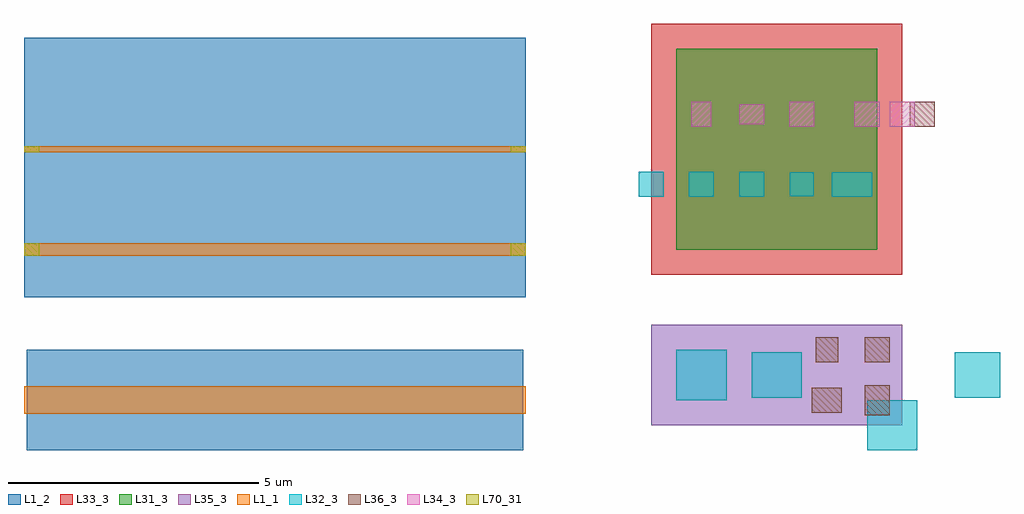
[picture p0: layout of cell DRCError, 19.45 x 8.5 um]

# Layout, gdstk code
import gdstk
lib = gdstk.Library(unit=1e-6, precision=1e-09)
def R(c, l, rs):  # rectangles x0, y0, x1, y1
    for r in rs: c.add(gdstk.rectangle(r[:2], r[2:], *l))
def A(c, l, x, y, w, h, nx, ny, dx, dy):  # array of equal rectangles
    R(c, l, [(x+i*dx, y+j*dy, x+i*dx+w, y+j*dy+h) for i in range(nx) for j in range(ny)])
def P(c, l, *ps):  # polygons
    for p in ps: c.add(gdstk.Polygon(p, *l))
L1_1 = (1, 1)
L1_2 = (1, 2)
L31_3 = (31, 3)
L32_3 = (32, 3)
L33_3 = (33, 3)
L34_3 = (34, 3)
L35_3 = (35, 3)
L36_3 = (36, 3)
L70_31 = (70, 31)

c_wg = lib.new_cell('wg')
R(c_wg, L1_1, [(0,-0.06,10,0.06)])
P(c_wg, L1_2, [(0,2.225),(10,2.225),(10,0.06),(10,-0.06),(10,-2.225),(0,-2.225),(0,-0.06),(0,0.06)])

straight = lib.new_cell('Straight')
R(straight, L70_31, [(0,-0.06,0.3,0.06), (9.7,-0.06,10,0.06)])
straight.add(gdstk.Reference(c_wg, (0,0)))
straight.add(gdstk.Label('op_0', (0,0), layer=70, texttype=41))
straight.add(gdstk.Label('op_1', (10,0), layer=70, texttype=41))

wg_x1 = lib.new_cell('wg_x1')
R(wg_x1, L1_1, [(0,-0.125,10,0.125)])
P(wg_x1, L1_2, [(0,0.95),(10,0.95),(10,0.125),(10,-0.125),(10,-0.95),(0,-0.95),(0,-0.125),(0,0.125)])

straight_x1 = lib.new_cell('Straight_x1')
R(straight_x1, L70_31, [(0,-0.125,0.3,0.125), (9.7,-0.125,10,0.125)])
straight_x1.add(gdstk.Reference(wg_x1, (0,0)))
straight_x1.add(gdstk.Label('op_0', (0,0), layer=70, texttype=41))
straight_x1.add(gdstk.Label('op_1', (10,0), layer=70, texttype=41))

x1e3c2a68160 = lib.new_cell('x1e3c2a68160')
R(x1e3c2a68160, L1_1, [(-5,-0.275,5,0.275)])
R(x1e3c2a68160, L1_2, [(-4.95,-1,4.95,1)])

x1e3c2a68ca0 = lib.new_cell('x1e3c2a68ca0')
R(x1e3c2a68ca0, L31_3, [(-2,-2,2,2)])
A(x1e3c2a68ca0, L32_3, -2.75, -0.95, 0.5, 0.5, 3, 1, 1, 0)
R(x1e3c2a68ca0, L32_3, [(1.1,-0.945,1.9,-0.455), (0.26,-0.94,0.74,-0.46)])
R(x1e3c2a68ca0, L33_3, [(-2.5,-2.5,2.5,2.5)])
R(x1e3c2a68ca0, L34_3, [(-1.7,0.45,-1.3,0.95), (0.25,0.45,0.75,0.95), (1.55,0.45,2.05,0.95), (2.25,0.45,2.75,0.95), (-0.75,0.5,-0.25,0.9)])
R(x1e3c2a68ca0, L36_3, [(2.65,0.45,3.15,0.95)])

x1e3c2a72550 = lib.new_cell('x1e3c2a72550')
R(x1e3c2a72550, L32_3, [(1.8,-1.5,2.8,-0.5), (-2,-0.5,-1,0.5), (-0.5,-0.45,0.5,0.45), (3.55,-0.45,4.45,0.45)])
R(x1e3c2a72550, L35_3, [(-2.5,-1,2.5,1)])
R(x1e3c2a72550, L36_3, [(1.75,-0.8,2.25,-0.2), (0.7,-0.75,1.3,-0.25), (0.775,0.25,1.225,0.75), (1.75,0.25,2.25,0.75)])

drcerror = lib.new_cell('DRCError')
drcerror.add(gdstk.Reference(straight, (0,0)))
drcerror.add(gdstk.Reference(straight_x1, (0,-2)))
drcerror.add(gdstk.Reference(x1e3c2a68160, (5,-5)))
drcerror.add(gdstk.Reference(x1e3c2a68ca0, (15,0)))
drcerror.add(gdstk.Reference(x1e3c2a72550, (15,-4.5)))

lib.write_gds('DRCError.gds')
